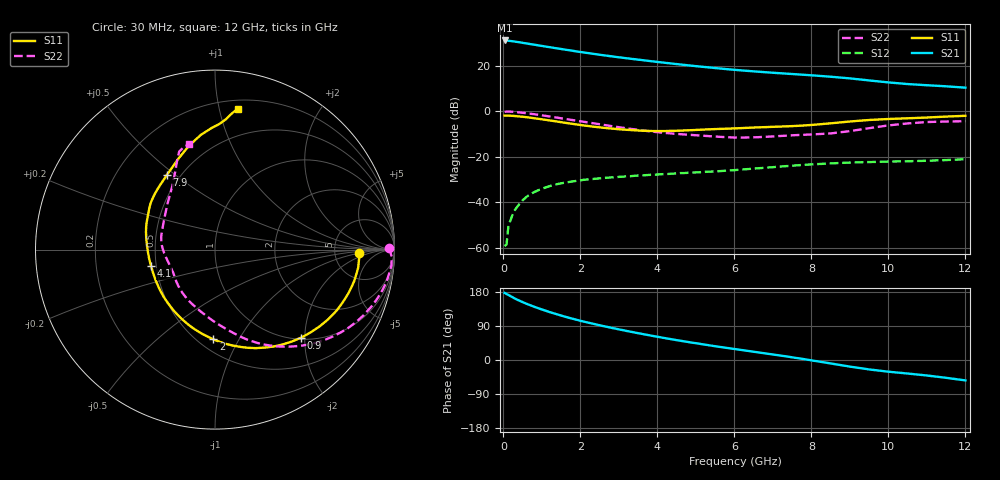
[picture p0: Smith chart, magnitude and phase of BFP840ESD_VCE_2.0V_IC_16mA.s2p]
! Infineon Technologies  Discrete & RF Semiconductors
! BFP840ESD
! VCE =  2.0 V,  IC =  16 mA
! Common Emitter S-Parameters:  May 2012
# GHz  S  MA  R  50
!  f  S11  S21  S12  S22
! GHz  MAG  ANG  MAG  ANG  MAG  ANG  MAG  ANG
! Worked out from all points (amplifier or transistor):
!   93 points, 30 MHz to 12 GHz, reference 50 ohm
!   highest |S21| = 31.1 dB at 30 MHz (marker M1)
!   |S21| within 3 dB of that: start of sweep to 1.216 GHz
!   unconditionally stable (mu >= 1): 5.109 GHz to 8.531 GHz
!   at 1.1 GHz: K = 0.36, MSG = 30.9 dB, |S12| = -33.4 dB
!   at 4.2 GHz: K = 0.91, MSG = 24.4 dB, |S12| = -27.5 dB
!   at 12 GHz: K = 0.73, MSG = 15.7 dB, |S12| = -21.0 dB
!   S11 on the Smith chart (normalised r, x): 30 MHz: 9.14, -1.02; 900 MHz: 1.03, -1.91; 2 GHz: 0.59, -0.79; 4.1 GHz: 0.47, -0.10; 7.9 GHz: 0.42, +0.47; 12 GHz: 0.27, +1.14
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0.03  0.805 -1.4  35.74 177.1  0.0011 99.8  0.9709 0.5
0.13  0.8041 -7.2  35.23 171.6  0.0031 80.6  0.9869 -5.0
0.28  0.7888 -15.4  33.96 163.2  0.0065 77.0  0.9679 -11.6
0.43  0.7678 -23.2  32.41 155.8  0.0096 74.2  0.9409 -17.5
0.6  0.7407 -31.6  30.7 148.3  0.0133 68.7  0.9062 -23.7
0.9  0.6856 -45.8  27.97 136.8  0.0185 62.2  0.838 -33.5
1.2  0.6297 -59.1  25.43 126.5  0.0228 56.3  0.7689 -42.3
1.4  0.5942 -67.5  23.9 120.3  0.0253 52.8  0.7238 -47.6
1.7  0.5432 -79.6  21.85 111.5  0.0281 47.9  0.6598 -55.0
2  0.5001 -91.1  19.98 103.6  0.0306 44.2  0.6034 -61.7
2.1  0.4868 -94.8  19.42 101.0  0.0315 43.1  0.5858 -63.8
2.6  0.4346 -113.0  16.92 89.4  0.0344 38.3  0.5039 -73.9
3  0.4039 -127.3  15.28 80.8  0.0364 36.0  0.4475 -81.8
3.6  0.3751 -148.5  13.25 68.8  0.0393 33.1  0.3812 -95.2
4.1  0.3678 -165.8  11.82 59.5  0.0417 31.1  0.3413 -107.5
4.9  0.3859 172.0  9.974 45.8  0.0453 28.5  0.3019 -126.8
6.1  0.4245 150.8  7.987 27.7  0.052 26.3  0.2656 -153.8
7.9  0.4948 122.9  6.237 0.8  0.0677 17.1  0.308 166.8
8.5  0.5441 112.3  5.727 -9.1  0.0719 12.6  0.3268 150.8
9.5  0.6442 97.0  4.746 -24.9  0.0769 4.5  0.4258 124.0
10.5  0.702 87.8  3.953 -35.7  0.0801 -1.9  0.5412 112.9
12  0.7954 80.8  3.294 -53.9  0.0888 -9.4  0.6054 103.8
